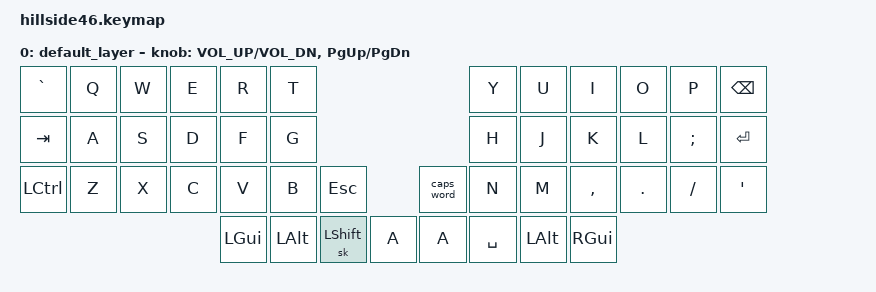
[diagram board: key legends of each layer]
/*
 * Copyright (c) 2021-2022 The ZMK Contributors
 *
 * SPDX-License-Identifier: MIT
 */

#include <behaviors.dtsi>
#include <dt-bindings/zmk/keys.h>

#define QWERTY_L 0
#define DVORAK_L 1
#define COLEMK_L 2
#define NAV_L    3
#define SYM_L    4
#define ADJ_L    5
#define Undo   LC(Z)
#define Cut    LC(X)
#define Copy   LC(C)
#define Paste  LC(V)
#define Redo   LC(Y)

/ {
    keymap {
        compatible = "zmk,keymap";

        default_layer {
            /* QWERTY
 * -------------------------------------------------------------------------------------------------------------------------------------
 * | `     |   Q   |   W   |   E   |   R   |   T   |-----------------------------------|   Y   |   U   |   I   |   O   |   P   | BKSPC |
 * | TAB   |   A   |   S   |   D   |   F   |   G   |-----------------------------------|   H   |   J   |   K   |   L   |   ;   | ENTER |
 * | CTRL  |   Z   |   X   |   C   |   V   |   B   |  ESC  |-------------------|  CAPS |   N   |   M   |   ,   |   .   |   /   |   '   |
 *                                 |  GUI  |  ALT  |SK SHFT|  Nav  |---|  Sym  | SPACE |  ALT  |  GUI  |
 */

            bindings = <
&kp GRAVE  &kp Q  &kp W  &kp E     &kp R     &kp T                                           &kp Y     &kp U      &kp I    &kp O      &kp P   &kp BSPC
  &kp TAB  &kp A  &kp S  &kp D     &kp F     &kp G                                           &kp H     &kp J      &kp K    &kp L   &kp SEMI  &kp ENTER
&kp LCTRL  &kp Z  &kp X  &kp C     &kp V     &kp B     &kp ESC                &caps_word     &kp N     &kp M  &kp COMMA  &kp DOT  &kp SLASH    &kp SQT
                                &kp LGUI  &kp LALT  &sk LSHIFT  &kp A  &kp A   &kp SPACE  &kp LALT  &kp RGUI
            >;

            sensor-bindings = <&inc_dec_kp C_VOL_UP C_VOL_DN &inc_dec_kp PG_UP PG_DN>;
        };
    };
};
